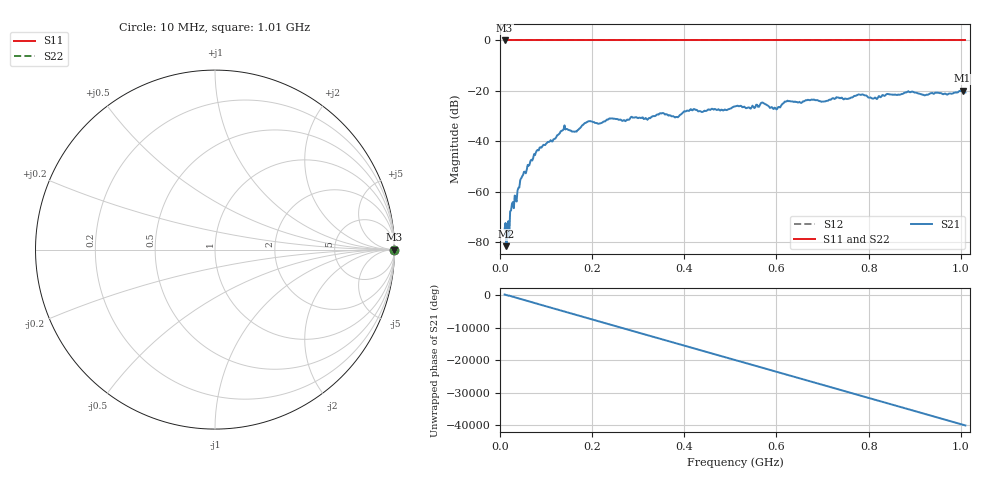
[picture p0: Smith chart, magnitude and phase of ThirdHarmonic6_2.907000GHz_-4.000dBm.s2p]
! 8/17/2025 8:02:56 AM
! C:\ANRITSUVNA\TEMP\TEMP.S2P
! CHANNEL.1
! TR.MEASUREMENT
! RAW.DATA
! RF.CORRECTION.OFF
! AVERAGING.OFF
! IF.BANDWIDTH: 5KHZ
! SWEEPTYPE:  FREQ.SWEEP(Linear)
! Reference Plane Port Info
! PORT:  PORT1  PORT2
! DISTANCE:  0  m  0  m
! TIME:  0  s  0  s
! PHASE.OFFSET:  0  deg.  0  deg.
! LOSS:  0  dB  0  dB
! REF.LOSS:  0  dB  0  dB
! REF.FREQ:  0  Hz  0  Hz
! Power Info
! POWER:  -20  dBm  -20  dBm
! EFF.POWER:  -20  dBm  -20  dBm
! SOURCE.ATTEN:  0  dB  0  dB
! TEST.ATTEN:  0  dB  0  dB
# GHZ S RI R 50.0
! FREQ.GHZ  S11RE  S11IM  S21RE  S21IM  S12RE  S12IM  S22RE  S22IM
!; PortSelection: Port_12
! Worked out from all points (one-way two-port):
!   501 points, 10 MHz to 1.01 GHz, reference 50 ohm
!   highest |S21| = -19.91 dB at 1.004 GHz (marker M1); lowest = -81.5 dB at 14 MHz (marker M2)
!   lowest |S11| = 0.0 dB at 10 MHz (marker M3)
!   |S11| at or under -10 dB: nowhere
!   |S22| runs from 0.0 to 0.0 dB; largest |S21 - S12| = 1.1
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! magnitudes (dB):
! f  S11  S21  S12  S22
! 10 MHz  0.0  -74.8  0.0  0.0
! 14 MHz  0.0  -81.5  0.0  0.0
! 18 MHz  0.0  -71.6  0.0  0.0
! 26 MHz  0.0  -64.6  0.0  0.0
! 48 MHz  0.0  -53.8  0.0  0.0
! 78 MHz  0.0  -44.3  0.0  0.0
! 136 MHz  0.0  -35.6  0.0  0.0
! 162 MHz  0.0  -36.1  0.0  0.0
! 178 MHz  0.0  -33.7  0.0  0.0
! 194 MHz  0.0  -31.9  0.0  0.0
! 322 MHz  0.0  -31.0  0.0  0.0
! 344 MHz  0.0  -29.4  0.0  0.0
! 384 MHz  0.0  -30.3  0.0  0.0
! 416 MHz  0.0  -27.6  0.0  0.0
! 510 MHz  0.0  -26.1  0.0  0.0
! 570 MHz  0.0  -24.6  0.0  0.0
! 598 MHz  0.0  -26.8  0.0  0.0
! 622 MHz  0.0  -24.1  0.0  0.0
! 678 MHz  0.0  -23.5  0.0  0.0
! 844 MHz  0.0  -21.3  0.0  0.0
! 1.004 GHz  0.0  -19.9  0.0  0.0
! 1.01 GHz  0.0  -20.6  0.0  0.0
